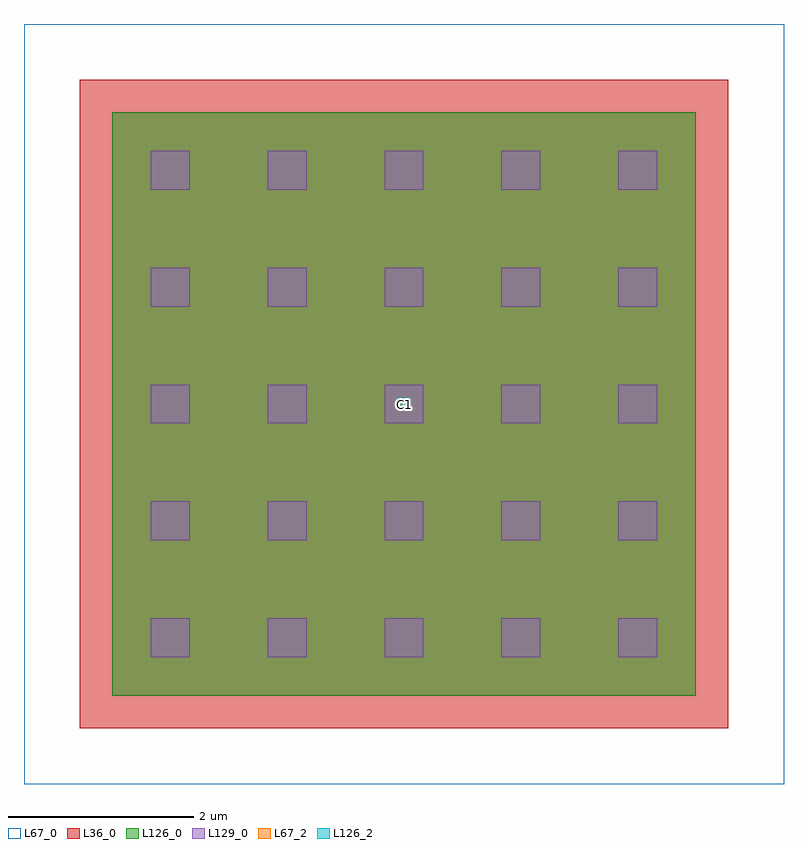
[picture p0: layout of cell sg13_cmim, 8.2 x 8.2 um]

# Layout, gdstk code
from math import pi, radians
import gdstk
lib = gdstk.Library(unit=1e-6, precision=5e-09)
def R(c, l, rs):  # rectangles x0, y0, x1, y1
    for r in rs: c.add(gdstk.rectangle(r[:2], r[2:], *l))
def A(c, l, x, y, w, h, nx, ny, dx, dy):  # array of equal rectangles
    R(c, l, [(x+i*dx, y+j*dy, x+i*dx+w, y+j*dy+h) for i in range(nx) for j in range(ny)])
L36_0 = (36, 0)
L67_0 = (67, 0)
L67_2 = (67, 2)
L126_0 = (126, 0)
L126_2 = (126, 2)
L129_0 = (129, 0)

cmim = lib.new_cell('cmim')
R(cmim, L36_0, [(0,0,7,7)])
R(cmim, L67_0, [(-0.6,-0.6,7.6,7.6)])
R(cmim, L126_0, [(0.35,0.35,6.65,6.65)])
A(cmim, L129_0, 0.77, 0.77, 0.42, 0.42, 5, 5, 1.26, 1.26)
cmim.add(gdstk.Label('c=74.8f', (3.5,3.5), layer=63, texttype=0))
cmim.add(gdstk.Label('cmim', (3.5,3.5), layer=63, texttype=0))

sg13_cmim = lib.new_cell('sg13_cmim')
R(sg13_cmim, L67_2, [(4.035,4.035,4.165,4.165)])
R(sg13_cmim, L126_2, [(4.035,4.035,4.165,4.165)])
sg13_cmim.add(gdstk.Reference(cmim, (0.6,7.6), rotation=3*pi/2))
sg13_cmim.add(gdstk.Label('C1', (4.1,4.1), layer=67, texttype=25))
sg13_cmim.add(gdstk.Label('C0', (4.1,4.1), layer=126, texttype=25))

lib.write_gds('sg13_cmim.gds')
